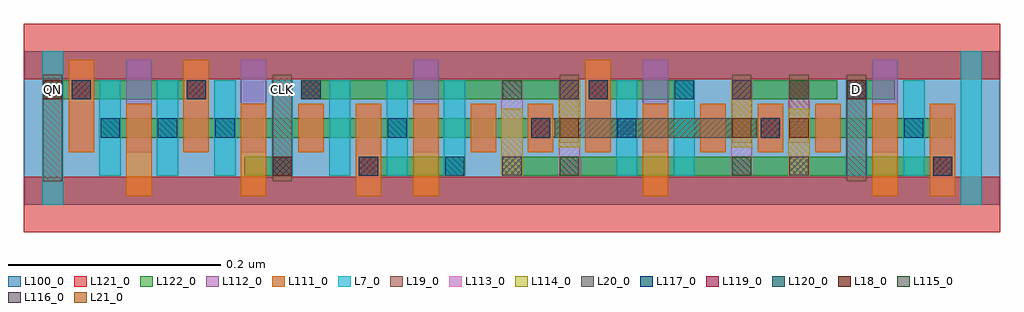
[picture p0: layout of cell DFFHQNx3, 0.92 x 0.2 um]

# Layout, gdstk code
import gdstk
lib = gdstk.Library(unit=1e-6, precision=2.5e-10)
def R(c, l, rs):  # rectangles x0, y0, x1, y1
    for r in rs: c.add(gdstk.rectangle(r[:2], r[2:], *l))
def A(c, l, x, y, w, h, nx, ny, dx, dy):  # array of equal rectangles
    R(c, l, [(x+i*dx, y+j*dy, x+i*dx+w, y+j*dy+h) for i in range(nx) for j in range(ny)])
L7_0 = (7, 0)
L18_0 = (18, 0)
L19_0 = (19, 0)
L20_0 = (20, 0)
L21_0 = (21, 0)
L100_0 = (100, 0)
L111_0 = (111, 0)
L112_0 = (112, 0)
L113_0 = (113, 0)
L114_0 = (114, 0)
L115_0 = (115, 0)
L116_0 = (116, 0)
L117_0 = (117, 0)
L119_0 = (119, 0)
L120_0 = (120, 0)
L121_0 = (121, 0)
L122_0 = (122, 0)

dffhqnx3 = lib.new_cell('DFFHQNx3')
A(dffhqnx3, L7_0, 0.071, 0.027, 0.02, 0.09, 7, 1, 0.054, 0)
R(dffhqnx3, L7_0, [(0.017,0,0.037,0.144), (0.881,0,0.901,0.144), (0.557,0.027,0.577,0.117), (0.611,0.027,0.631,0.117), (0.773,0.027,0.793,0.117), (0.827,0.027,0.847,0.117)])
A(dffhqnx3, L18_0, 0.666, 0.099, 0.018, 0.018, 3, 1, 0.054, 0)
R(dffhqnx3, L18_0, [(0.234,0.027,0.252,0.045), (0.72,0.063,0.738,0.081), (0.018,0.099,0.036,0.117), (0.504,0.099,0.522,0.117)])
R(dffhqnx3, L19_0, [(0.018,0.022,0.036,0.122), (0.234,0.022,0.252,0.122), (0.774,0.022,0.792,0.122), (0.504,0.058,0.522,0.122), (0.666,0.058,0.684,0.122), (0.72,0.058,0.738,0.122)])
R(dffhqnx3, L20_0, [(0.499,0.063,0.689,0.081)])
R(dffhqnx3, L21_0, [(0.504,0.063,0.522,0.081), (0.666,0.063,0.684,0.081)])
R(dffhqnx3, L100_0, [(0,0,0.918,0.144)])
A(dffhqnx3, L111_0, 0.096, 0.008, 0.024, 0.087, 3, 1, 0.108, 0)
A(dffhqnx3, L111_0, 0.366, 0.008, 0.024, 0.087, 3, 1, 0.216, 0)
A(dffhqnx3, L111_0, 0.636, 0.049, 0.024, 0.046, 3, 1, 0.054, 0)
R(dffhqnx3, L111_0, [(0.852,0.008,0.876,0.095), (0.042,0.049,0.066,0.136), (0.15,0.049,0.174,0.136), (0.258,0.049,0.282,0.095), (0.42,0.049,0.444,0.095), (0.474,0.049,0.498,0.095), (0.528,0.049,0.552,0.136)])
A(dffhqnx3, L112_0, 0.042, 0.049, 0.024, 0.087, 4, 1, 0.054, 0)
A(dffhqnx3, L112_0, 0.636, 0.049, 0.024, 0.046, 3, 1, 0.054, 0)
R(dffhqnx3, L112_0, [(0.312,0.008,0.336,0.095), (0.852,0.008,0.876,0.095), (0.258,0.049,0.282,0.095), (0.366,0.049,0.39,0.136), (0.42,0.049,0.444,0.095), (0.474,0.049,0.498,0.095), (0.528,0.049,0.552,0.136), (0.582,0.049,0.606,0.136), (0.798,0.049,0.822,0.136)])
R(dffhqnx3, L113_0, [(0.449,0.027,0.469,0.117), (0.503,0.027,0.523,0.117), (0.665,0.027,0.685,0.117), (0.719,0.027,0.739,0.117)])
R(dffhqnx3, L114_0, [(0.449,0.027,0.469,0.09), (0.719,0.027,0.739,0.09), (0.503,0.054,0.523,0.117), (0.665,0.054,0.685,0.117)])
R(dffhqnx3, L115_0, [(0.504,0.027,0.522,0.045), (0.666,0.027,0.684,0.045), (0.45,0.099,0.468,0.117), (0.72,0.099,0.738,0.117)])
R(dffhqnx3, L116_0, [(0.45,0.027,0.468,0.045), (0.72,0.027,0.738,0.045), (0.504,0.099,0.522,0.117), (0.666,0.099,0.684,0.117)])
A(dffhqnx3, L117_0, 0.072, 0.063, 0.018, 0.018, 3, 1, 0.054, 0)
R(dffhqnx3, L117_0, [(0.234,0.027,0.252,0.045), (0.396,0.027,0.414,0.045), (0.342,0.063,0.36,0.081), (0.558,0.063,0.576,0.081), (0.828,0.063,0.846,0.081), (0.612,0.099,0.63,0.117), (0.774,0.099,0.792,0.117)])
A(dffhqnx3, L119_0, 0.045, 0.099, 0.018, 0.018, 3, 1, 0.108, 0)
R(dffhqnx3, L119_0, [(0.315,0.027,0.333,0.045), (0.855,0.027,0.873,0.045), (0.477,0.063,0.495,0.081), (0.693,0.063,0.711,0.081), (0.531,0.099,0.549,0.117)])
A(dffhqnx3, L120_0, 0.045, 0.099, 0.018, 0.018, 3, 1, 0.108, 0)
R(dffhqnx3, L120_0, [(0.315,0.027,0.333,0.045), (0.855,0.027,0.873,0.045), (0.477,0.063,0.495,0.081), (0.693,0.063,0.711,0.081), (0.531,0.099,0.549,0.117)])
R(dffhqnx3, L121_0, [(0,-0.026,0.918,0.026), (0,0.118,0.918,0.17)])
R(dffhqnx3, L122_0, [(0.207,0.027,0.252,0.045), (0.315,0.027,0.414,0.045), (0.45,0.027,0.873,0.045), (0.072,0.063,0.522,0.081), (0.531,0.063,0.711,0.081), (0.72,0.063,0.873,0.081), (0.018,0.099,0.171,0.117), (0.261,0.099,0.522,0.117), (0.531,0.099,0.63,0.117), (0.666,0.099,0.765,0.117), (0.774,0.099,0.819,0.117)])
dffhqnx3.add(gdstk.Label('QN', (0.027,0.108), layer=19, texttype=251))
dffhqnx3.add(gdstk.Label('D', (0.783,0.108), layer=19, texttype=251))
dffhqnx3.add(gdstk.Label('CLK', (0.243,0.108), layer=19, texttype=251))

lib.write_gds('DFFHQNx3.gds')
